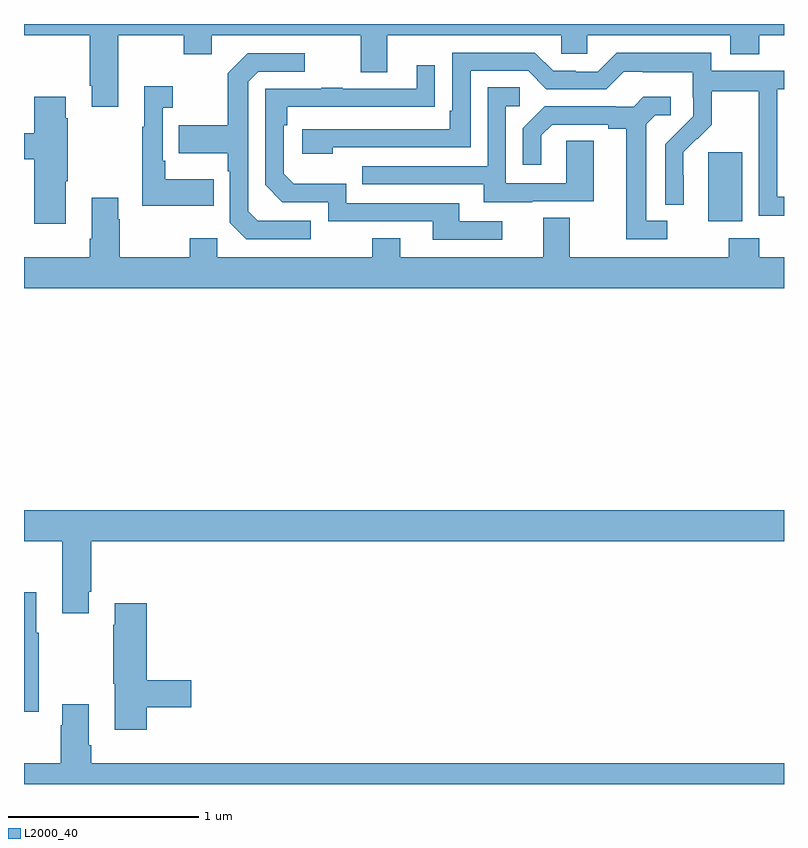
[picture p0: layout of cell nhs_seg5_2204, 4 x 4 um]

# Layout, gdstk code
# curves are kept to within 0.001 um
import gdstk
lib = gdstk.Library(unit=1e-6, precision=1e-09)
def R(c, l, rs):  # rectangles x0, y0, x1, y1
    for r in rs: c.add(gdstk.rectangle(r[:2], r[2:], *l))
def P(c, l, *ps):  # polygons
    for p in ps: c.add(gdstk.Polygon(p, *l))
L2000_40 = (2000, 40)

nhs_seg5_2204 = lib.new_cell('nhs_seg5_2204')
R(nhs_seg5_2204, L2000_40, [(242.6,875.762,242.779,876.123)])
P(nhs_seg5_2204, L2000_40, [(239.497,876.74),(239.842,876.74),(239.842,876.641),(239.989,876.641),(239.989,876.74),(240.773,876.74),(240.773,876.546),(240.913,876.546),(240.913,876.74),(241.827,876.74),(241.827,876.642),(241.965,876.642),(241.965,876.74),(242.717,876.74),(242.717,876.641),(242.87,876.641),(242.87,876.74),(243,876.74),(243,876.799),(239,876.799),(239,876.74),(239.345,876.74),(239.345,876.475),(239.357,876.475),(239.357,876.363),(239.497,876.363)],
  [(243,875.889),(242.964,875.889),(242.964,876.456),(243,876.456),(243,876.552),(242.616,876.552),(242.616,876.649),(242.119,876.649),(242.019,876.549),(241.904,876.549),(241.904,876.552),(241.785,876.552),(241.689,876.648),(241.254,876.648),(241.254,876.343),(241.241,876.343),(241.241,876.246),(240.465,876.246),(240.465,876.116),(240.626,876.116),(240.626,876.15),(241.35,876.15),(241.35,876.552),(241.653,876.552),(241.749,876.456),(242.064,876.456),(242.157,876.549),(242.257,876.549),(242.257,876.545),(242.52,876.545),(242.52,876.411),(242.522,876.411),(242.522,876.314),(242.376,876.166),(242.376,875.848),(242.472,875.848),(242.471,876.125),(242.541,876.195),(242.544,876.192),(242.621,876.269),(242.621,876.444),(242.866,876.444),(242.866,876.22),(242.868,876.22),(242.868,875.791),(243,875.791)],
  [(240.508,875.763),(240.231,875.763),(240.18,875.814),(240.18,876.495),(240.234,876.549),(240.478,876.549),(240.478,876.645),(240.177,876.645),(240.072,876.539),(240.072,876.267),(239.815,876.267),(239.815,876.119),(240.072,876.119),(240.072,876.023),(240.084,876.023),(240.084,875.754),(240.171,875.667),(240.508,875.667)],
  [(241.516,875.76),(241.291,875.76),(241.291,875.856),(240.696,875.856),(240.696,875.959),(240.419,875.959),(240.366,876.012),(240.366,876.266),(240.386,876.266),(240.386,876.363),(241.163,876.364),(241.163,876.583),(241.067,876.583),(241.067,876.459),(240.677,876.459),(240.677,876.464),(240.565,876.464),(240.565,876.459),(240.27,876.459),(240.27,875.952),(240.36,875.862),(240.6,875.862),(240.6,875.76),(241.151,875.76),(241.151,875.664),(241.516,875.664)],
  [(239.999,875.983),(239.743,875.983),(239.743,876.079),(239.73,876.079),(239.73,876.359),(239.782,876.359),(239.782,876.472),(239.633,876.472),(239.633,876.259),(239.622,876.259),(239.622,875.843),(239.999,875.843)],
  [(241.675,875.865),(241.999,875.865),(241.999,876.185),(241.854,876.185),(241.854,875.961),(241.536,875.961),(241.536,876.366),(241.609,876.366),(241.609,876.467),(241.44,876.467),(241.44,876.051),(240.781,876.051),(240.781,875.955),(241.421,875.955),(241.421,875.861),(241.675,875.861)],
  [(242.386,875.763),(242.275,875.763),(242.275,876.271),(242.322,876.318),(242.404,876.318),(242.404,876.415),(242.26,876.415),(242.208,876.363),(242.114,876.363),(242.114,876.366),(241.742,876.366),(241.626,876.25),(241.626,876.057),(241.723,876.057),(241.723,876.213),(241.78,876.27),(242.075,876.27),(242.075,876.248),(242.171,876.248),(242.171,875.667),(242.386,875.667)],
  [(239.221,875.971),(239.229,875.971),(239.229,876.302),(239.221,876.302),(239.221,876.415),(239.054,876.415),(239.054,876.224),(239,876.224),(239,876.088),(239.054,876.088),(239.054,875.748),(239.221,875.748)],
  [(239.872,875.671),(239.872,875.572),(239.505,875.572),(239.505,875.771),(239.497,875.771),(239.497,875.884),(239.357,875.884),(239.357,875.668),(239.345,875.668),(239.345,875.572),(239,875.572),(239,875.408),(243,875.408),(243,875.572),(242.87,875.572),(242.87,875.671),(242.71,875.671),(242.71,875.572),(241.873,875.572),(241.873,875.78),(241.733,875.78),(241.733,875.572),(240.979,875.572),(240.979,875.671),(240.832,875.671),(240.832,875.572),(240.018,875.572),(240.018,875.671)],
  [(239.341,873.811),(239.354,873.811),(239.354,874.076),(243,874.076),(243,874.24),(239,874.24),(239,874.076),(239.201,874.076),(239.201,873.699),(239.341,873.699)],
  [(239.077,873.595),(239.065,873.595),(239.065,873.808),(239,873.808),(239,873.179),(239.077,873.179)],
  [(239.645,873.202),(239.881,873.202),(239.881,873.344),(239.645,873.344),(239.645,873.751),(239.477,873.751),(239.477,873.638),(239.47,873.638),(239.47,873.327),(239.477,873.327),(239.477,873.084),(239.645,873.084)],
  [(243,872.908),(239.354,872.908),(239.354,873.004),(239.341,873.004),(239.341,873.22),(239.201,873.22),(239.201,873.107),(239.194,873.107),(239.194,872.908),(239,872.908),(239,872.799),(243,872.799)])

lib.write_gds('nhs_seg5_2204.gds')
